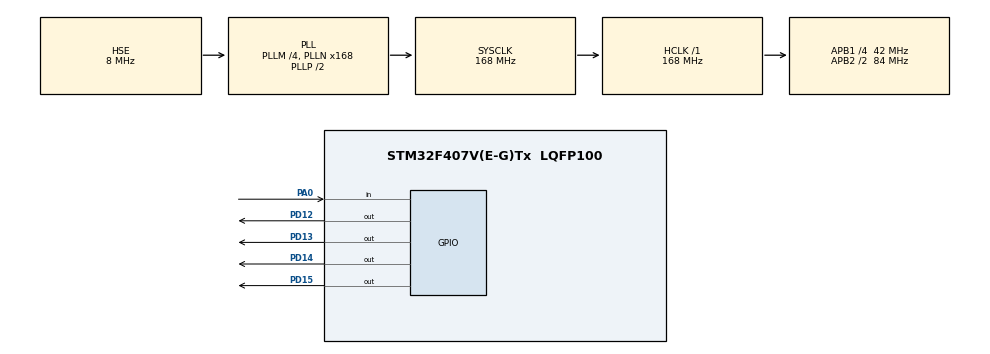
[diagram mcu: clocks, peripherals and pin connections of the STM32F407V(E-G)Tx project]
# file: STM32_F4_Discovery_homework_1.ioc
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Mcu.Family=STM32F4
Mcu.Name=STM32F407V(E-G)Tx
Mcu.Package=LQFP100
NVIC.PriorityGroup=NVIC_PRIORITYGROUP_4
PA0-WKUP.Signal=GPIO_Input
PD12.Signal=GPIO_Output
PD13.Signal=GPIO_Output
PD14.Signal=GPIO_Output
PD15.Signal=GPIO_Output
PH0-OSC_IN.Mode=HSE-External-Oscillator
PH0-OSC_IN.Signal=RCC_OSC_IN
PH1-OSC_OUT.Mode=HSE-External-Oscillator
PH1-OSC_OUT.Signal=RCC_OSC_OUT
ProjectManager.HeapSize=0x200
ProjectManager.StackSize=0x400
ProjectManager.TargetToolchain=SW4STM32
RCC.48MHZClocksFreq_Value=84000000
RCC.AHBFreq_Value=168000000
RCC.APB1CLKDivider=RCC_HCLK_DIV4
RCC.APB1Freq_Value=42000000
RCC.APB1TimFreq_Value=84000000
RCC.APB2CLKDivider=RCC_HCLK_DIV2
RCC.APB2Freq_Value=84000000
RCC.APB2TimFreq_Value=168000000
RCC.CortexFreq_Value=168000000
RCC.HCLKFreq_Value=168000000
RCC.HSE_VALUE=8000000
RCC.HSI_VALUE=16000000
RCC.LSE_VALUE=32768
RCC.PLLM=4
RCC.PLLN=168
RCC.PLLSourceVirtual=RCC_PLLSOURCE_HSE
RCC.SYSCLKFreq_VALUE=168000000
RCC.SYSCLKSource=RCC_SYSCLKSOURCE_PLLCLK
RCC.VCOOutputFreq_Value=336000000
board=STM32_F4_Discovery_homework_1

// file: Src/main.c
/**
  ******************************************************************************
  * File Name          : main.c
  * Description        : Main program body
  ******************************************************************************
  *
  * COPYRIGHT(c) 2016 STMicroelectronics
  *
  * Redistribution and use in source and binary forms, with or without modification,
  * are permitted provided that the following conditions are met:
  *   1. Redistributions of source code must retain the above copyright notice,
  *      this list of conditions and the following disclaimer.
  *   2. Redistributions in binary form must reproduce the above copyright notice,
  *      this list of conditions and the following disclaimer in the documentation
  *      and/or other materials provided with the distribution.
  *   3. Neither the name of STMicroelectronics nor the names of its contributors
  *      may be used to endorse or promote products derived from this software
  *      without specific prior written permission.
  *
  * THIS SOFTWARE IS PROVIDED BY THE COPYRIGHT HOLDERS AND CONTRIBUTORS "AS IS"
  * AND ANY EXPRESS OR IMPLIED WARRANTIES, INCLUDING, BUT NOT LIMITED TO, THE
  * IMPLIED WARRANTIES OF MERCHANTABILITY AND FITNESS FOR A PARTICULAR PURPOSE ARE
  * DISCLAIMED. IN NO EVENT SHALL THE COPYRIGHT HOLDER OR CONTRIBUTORS BE LIABLE
  * FOR ANY DIRECT, INDIRECT, INCIDENTAL, SPECIAL, EXEMPLARY, OR CONSEQUENTIAL
  * DAMAGES (INCLUDING, BUT NOT LIMITED TO, PROCUREMENT OF SUBSTITUTE GOODS OR
  * SERVICES; LOSS OF USE, DATA, OR PROFITS; OR BUSINESS INTERRUPTION) HOWEVER
  * CAUSED AND ON ANY THEORY OF LIABILITY, WHETHER IN CONTRACT, STRICT LIABILITY,
  * OR TORT (INCLUDING NEGLIGENCE OR OTHERWISE) ARISING IN ANY WAY OUT OF THE USE
  * OF THIS SOFTWARE, EVEN IF ADVISED OF THE POSSIBILITY OF SUCH DAMAGE.
  *
  ******************************************************************************
  */
#include "main.h"
#include "stm32f4xx_hal.h"
#include "gpio.h"
#include <string.h>
#include <stdio.h>

/* USER CODE BEGIN PV */
/* Private variables ---------------------------------------------------------*/

/* USER CODE END PV */

void SystemClock_Config(void);
void Error_Handler(void);

/* USER CODE BEGIN PFP */
/* Private function prototypes -----------------------------------------------*/

/* USER CODE END PFP */

/* USER CODE BEGIN 0 */

void NameInMorseCode(char name[], int nameSize)
{
	// Blue LED
	// Indicates that function is still running.
	HAL_GPIO_TogglePin(GPIOD, GPIO_PIN_15);

	for(int i = 0; i < nameSize; ++i)
	{
		if (name[i] == '-')
		{
			HAL_GPIO_TogglePin(GPIOD, GPIO_PIN_12);
			HAL_Delay(500);
		}
		else if (name[i] == '.')
		{
			HAL_GPIO_TogglePin(GPIOD, GPIO_PIN_12);
			HAL_Delay(100);
		}
	}

	HAL_GPIO_TogglePin(GPIOD, GPIO_PIN_15);
	HAL_Delay(1000);

	return;
}

uint16_t allLEDs[] = {GPIO_PIN_12, GPIO_PIN_13, GPIO_PIN_14, GPIO_PIN_15};
int pressCount = 0;

void ButtonPressedQuantity()
{
	/*
	 * As STM32F4 has only 4 LEDs that I know about - I used only them.
	 * This reduces max number represented to 4 bits.
	 * But the logic is the same for any amount of bits.
	 */

	int currentLedIndex = 0;

	if(HAL_GPIO_ReadPin(GPIOA, GPIO_PIN_0) == GPIO_PIN_SET)
	{
		pressCount++;
		HAL_GPIO_WritePin(GPIOD, GPIO_PIN_12 | GPIO_PIN_13 | GPIO_PIN_14 | GPIO_PIN_15, GPIO_PIN_RESET);
		HAL_Delay(50);
		while(HAL_GPIO_ReadPin(GPIOA, GPIO_PIN_0) == GPIO_PIN_SET){}
		HAL_Delay(50);
	}

	int currentPressCount;
	currentPressCount = pressCount;

	while(currentPressCount > 0)
	{
		if (currentPressCount % 2)
		{
			HAL_GPIO_WritePin(GPIOD, allLEDs[currentLedIndex], GPIO_PIN_SET);
		}

		currentLedIndex++;
		currentPressCount /= 2;
	}
}

void ButtonPressedQuantityBitOperations()
{
	// To be edited
}

/* USER CODE END 0 */

int main(void)
{

  /* MCU Configuration----------------------------------------------------------*/

  /* Reset of all peripherals, Initializes the Flash interface and the Systick. */
  HAL_Init();

  /* Configure the system clock */
  SystemClock_Config();

  /* Initialize all configured peripherals */
  MX_GPIO_Init();

  /* Infinite loop */
  while (1)
  {

  /* USER CODE BEGIN 3 */
	  /*
	   * Name Maxym in MorseCode: -- .- -..- -.-- --
	   * Pass char array of morse code and size of that array, because pointer will be passed.
	   * That way it sizeof will count size of a pointer, but size of the argument passed.
	   */
	  // char morseCode[] = "-- .- -..- -.-- --";
	  // NameInMorseCode(morseCode, sizeof(morseCode) / sizeof(morseCode[0]));

	  ButtonPressedQuantity();

  }
  /* USER CODE END 3 */

}

/** System Clock Configuration
*/
void SystemClock_Config(void)
{

  RCC_OscInitTypeDef RCC_OscInitStruct;
  RCC_ClkInitTypeDef RCC_ClkInitStruct;

    /**Configure the main internal regulator output voltage
    */
  __HAL_RCC_PWR_CLK_ENABLE();

  __HAL_PWR_VOLTAGESCALING_CONFIG(PWR_REGULATOR_VOLTAGE_SCALE1);

    /**Initializes the CPU, AHB and APB busses clocks
    */
  RCC_OscInitStruct.OscillatorType = RCC_OSCILLATORTYPE_HSE;
  RCC_OscInitStruct.HSEState = RCC_HSE_ON;
  RCC_OscInitStruct.PLL.PLLState = RCC_PLL_ON;
  RCC_OscInitStruct.PLL.PLLSource = RCC_PLLSOURCE_HSE;
  RCC_OscInitStruct.PLL.PLLM = 4;
  RCC_OscInitStruct.PLL.PLLN = 168;
  RCC_OscInitStruct.PLL.PLLP = RCC_PLLP_DIV2;
  RCC_OscInitStruct.PLL.PLLQ = 4;
  if (HAL_RCC_OscConfig(&RCC_OscInitStruct) != HAL_OK)
  {
    Error_Handler();
  }

    /**Initializes the CPU, AHB and APB busses clocks
    */
  RCC_ClkInitStruct.ClockType = RCC_CLOCKTYPE_HCLK|RCC_CLOCKTYPE_SYSCLK
                              |RCC_CLOCKTYPE_PCLK1|RCC_CLOCKTYPE_PCLK2;
  RCC_ClkInitStruct.SYSCLKSource = RCC_SYSCLKSOURCE_PLLCLK;
  RCC_ClkInitStruct.AHBCLKDivider = RCC_SYSCLK_DIV1;
  RCC_ClkInitStruct.APB1CLKDivider = RCC_HCLK_DIV4;
  RCC_ClkInitStruct.APB2CLKDivider = RCC_HCLK_DIV2;

  if (HAL_RCC_ClockConfig(&RCC_ClkInitStruct, FLASH_LATENCY_5) != HAL_OK)
  {
    Error_Handler();
  }

    /**Configure the Systick interrupt time
    */
  HAL_SYSTICK_Config(HAL_RCC_GetHCLKFreq()/1000);

    /**Configure the Systick
    */
  HAL_SYSTICK_CLKSourceConfig(SYSTICK_CLKSOURCE_HCLK);

  /* SysTick_IRQn interrupt configuration */
  HAL_NVIC_SetPriority(SysTick_IRQn, 0, 0);
}

void Error_Handler(void)
{
  while(1)
  {
  }
}

/************************ (C) COPYRIGHT STMicroelectronics *****END OF FILE****/
